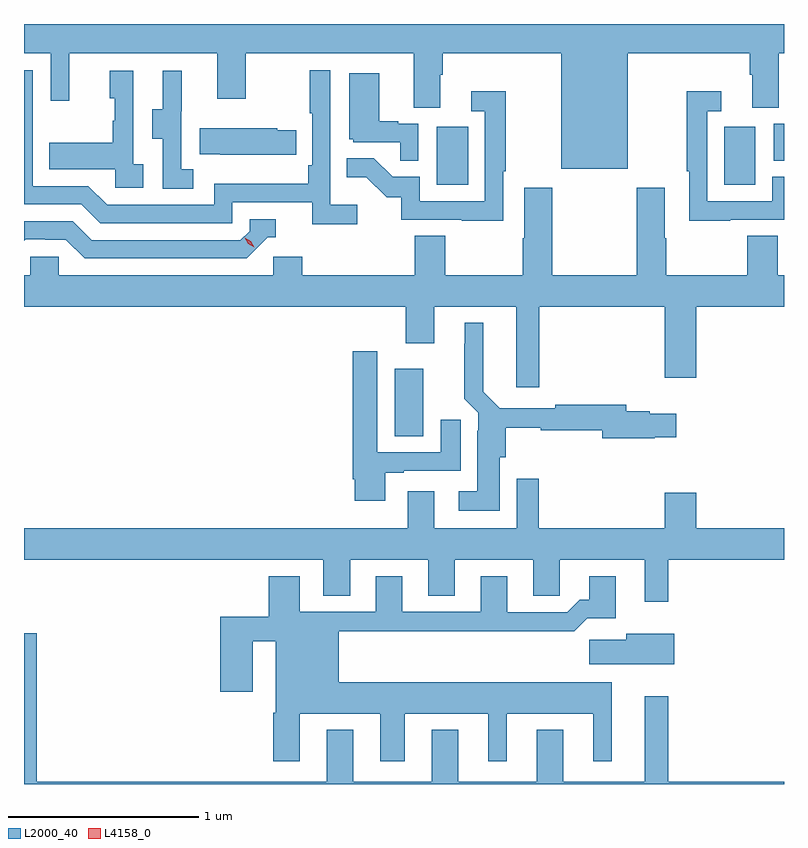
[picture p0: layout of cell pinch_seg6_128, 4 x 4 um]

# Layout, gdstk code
import gdstk
lib = gdstk.Library(unit=1e-6, precision=1e-09)
def R(c, l, rs):  # rectangles x0, y0, x1, y1
    for r in rs: c.add(gdstk.rectangle(r[:2], r[2:], *l))
def P(c, l, *ps):  # polygons
    for p in ps: c.add(gdstk.Polygon(p, *l))
L2000_40 = (2000, 40)
L4158_0 = (4158, 0)

pinch_seg6_128 = lib.new_cell('pinch_seg6_128')
R(pinch_seg6_128, L2000_40, [(1014.734,934.666,1014.883,935.02), (1014.956,935.988,1015.12,936.295), (1016.468,935.988,1016.632,936.295), (1016.73,936.115,1016.783,936.309)])
P(pinch_seg6_128, L2000_40, [(1015.96,936.68),(1016.603,936.68),(1016.603,936.568),(1016.615,936.568),(1016.615,936.394),(1016.755,936.394),(1016.755,936.68),(1016.783,936.68),(1016.783,936.835),(1012.783,936.835),(1012.783,936.68),(1012.923,936.68),(1012.923,936.432),(1013.021,936.432),(1013.021,936.68),(1013.801,936.68),(1013.801,936.441),(1013.949,936.441),(1013.949,936.68),(1014.833,936.68),(1014.833,936.394),(1014.973,936.394),(1014.973,936.568),(1014.986,936.568),(1014.986,936.68),(1015.61,936.68),(1015.61,936.074),(1015.96,936.074)],
  [(1014.538,935.884),(1014.396,935.884),(1014.396,936.592),(1014.288,936.592),(1014.288,936.364),(1014.3,936.364),(1014.3,936.091),(1014.28,936.091),(1014.28,935.995),(1013.784,935.995),(1013.784,935.883),(1013.22,935.883),(1013.121,935.982),(1012.83,935.982),(1012.83,936.591),(1012.783,936.591),(1012.783,935.886),(1013.084,935.886),(1013.183,935.787),(1013.88,935.787),(1013.88,935.898),(1014.299,935.898),(1014.299,935.782),(1014.538,935.782)],
  [(1013.41,936.098),(1013.358,936.098),(1013.358,936.589),(1013.234,936.589),(1013.234,936.444),(1013.26,936.444),(1013.26,936.326),(1013.25,936.326),(1013.25,936.211),(1012.915,936.211),(1012.915,936.071),(1013.262,936.071),(1013.262,935.973),(1013.41,935.973)],
  [(1013.674,936.071),(1013.61,936.071),(1013.61,936.375),(1013.612,936.375),(1013.612,936.589),(1013.513,936.589),(1013.513,936.387),(1013.459,936.387),(1013.459,936.232),(1013.514,936.232),(1013.514,935.968),(1013.674,935.968)],
  [(1014.858,936.309),(1014.752,936.309),(1014.752,936.322),(1014.652,936.322),(1014.652,936.577),(1014.494,936.577),(1014.494,936.228),(1014.516,936.228),(1014.516,936.213),(1014.763,936.213),(1014.763,936.115),(1014.858,936.115)],
  [(1015.305,936.061),(1015.318,936.061),(1015.318,936.481),(1015.137,936.481),(1015.137,936.375),(1015.209,936.375),(1015.209,935.901),(1014.867,935.901),(1014.867,936.03),(1014.723,936.03),(1014.625,936.128),(1014.481,936.128),(1014.481,936.029),(1014.585,936.029),(1014.692,935.922),(1014.769,935.922),(1014.769,935.805),(1015.087,935.805),(1015.087,935.8),(1015.305,935.8)],
  [(1016.501,935.805),(1016.783,935.805),(1016.783,936.03),(1016.721,936.03),(1016.721,935.901),(1016.379,935.901),(1016.379,936.375),(1016.452,936.375),(1016.452,936.481),(1016.271,936.481),(1016.271,936.061),(1016.283,936.061),(1016.283,935.8),(1016.501,935.8)],
  [(1014.215,936.276),(1014.117,936.276),(1014.117,936.286),(1013.707,936.286),(1013.707,936.149),(1013.815,936.149),(1013.815,936.146),(1014.215,936.146)],
  [(1015.496,935.348),(1016.156,935.348),(1016.156,934.974),(1016.32,934.974),(1016.32,935.348),(1016.783,935.348),(1016.783,935.512),(1016.75,935.512),(1016.75,935.72),(1016.59,935.72),(1016.59,935.512),(1016.163,935.512),(1016.163,935.708),(1016.155,935.708),(1016.155,935.974),(1016.008,935.974),(1016.008,935.512),(1015.563,935.512),(1015.563,935.974),(1015.415,935.974),(1015.415,935.708),(1015.408,935.708),(1015.408,935.512),(1014.999,935.512),(1014.999,935.72),(1014.839,935.72),(1014.839,935.512),(1014.248,935.512),(1014.248,935.61),(1014.096,935.61),(1014.096,935.512),(1012.965,935.512),(1012.965,935.61),(1012.815,935.61),(1012.815,935.512),(1012.783,935.512),(1012.783,935.348),(1014.791,935.348),(1014.791,935.154),(1014.943,935.154),(1014.943,935.348),(1015.373,935.348),(1015.373,934.923),(1015.496,934.923)],
  [(1014.066,935.712),(1014.109,935.712),(1014.109,935.808),(1013.97,935.808),(1013.97,935.745),(1013.922,935.697),(1013.139,935.697),(1013.04,935.796),(1012.783,935.796),(1012.783,935.693),(1012.793,935.703),(1012.896,935.703),(1012.896,935.7),(1013.003,935.7),(1013.102,935.601),(1013.955,935.601)],
  [(1015.288,934.554),(1015.319,934.554),(1015.319,934.711),(1015.502,934.711),(1015.502,934.696),(1015.826,934.696),(1015.826,934.654),(1016.102,934.654),(1016.102,934.661),(1016.215,934.661),(1016.215,934.783),(1016.076,934.783),(1016.076,934.796),(1015.954,934.796),(1015.954,934.832),(1015.579,934.832),(1015.579,934.812),(1015.288,934.812),(1015.201,934.9),(1015.201,935.263),(1015.103,935.263),(1015.103,935.153),(1015.099,935.153),(1015.099,934.862),(1015.173,934.788),(1015.173,934.694),(1015.169,934.694),(1015.169,934.375),(1015.071,934.375),(1015.071,934.274),(1015.288,934.274)],
  [(1014.685,934.473),(1014.781,934.473),(1014.781,934.485),(1015.081,934.485),(1015.081,934.753),(1014.977,934.753),(1014.977,934.581),(1014.643,934.581),(1014.643,935.113),(1014.512,935.113),(1014.512,934.438),(1014.524,934.438),(1014.524,934.326),(1014.685,934.326)],
  [(1016.173,934.016),(1016.783,934.016),(1016.783,934.18),(1016.32,934.18),(1016.32,934.369),(1016.156,934.369),(1016.156,934.18),(1015.493,934.18),(1015.493,934.441),(1015.377,934.441),(1015.377,934.18),(1014.943,934.18),(1014.943,934.375),(1014.803,934.375),(1014.803,934.18),(1012.783,934.18),(1012.783,934.016),(1014.359,934.016),(1014.359,933.826),(1014.499,933.826),(1014.499,934.016),(1014.911,934.016),(1014.911,933.826),(1015.051,933.826),(1015.051,934.016),(1015.463,934.016),(1015.463,933.826),(1015.602,933.826),(1015.602,934.016),(1016.051,934.016),(1016.051,933.795),(1016.173,933.795)],
  [(1014.235,933.206),(1014.659,933.206),(1014.659,932.955),(1014.787,932.955),(1014.787,933.206),(1015.226,933.206),(1015.226,932.955),(1015.324,932.955),(1015.324,933.206),(1015.778,933.206),(1015.778,932.955),(1015.876,932.955),(1015.876,933.37),(1014.439,933.37),(1014.439,933.64),(1015.423,933.64),(1015.423,933.638),(1015.679,933.638),(1015.748,933.707),(1015.897,933.707),(1015.897,933.928),(1015.757,933.928),(1015.757,933.805),(1015.708,933.805),(1015.641,933.738),(1015.327,933.738),(1015.327,933.928),(1015.187,933.928),(1015.187,933.741),(1014.775,933.741),(1014.775,933.928),(1014.635,933.928),(1014.635,933.741),(1014.235,933.741),(1014.235,933.928),(1014.071,933.928),(1014.071,933.715),(1013.816,933.715),(1013.816,933.321),(1013.986,933.321),(1013.986,933.586),(1014.107,933.586),(1014.107,933.21),(1014.095,933.21),(1014.095,932.955),(1014.235,932.955)],
  [(1016.783,932.848),(1016.173,932.848),(1016.173,933.298),(1016.051,933.298),(1016.051,932.848),(1015.621,932.848),(1015.621,933.121),(1015.481,933.121),(1015.481,932.848),(1015.069,932.848),(1015.069,933.121),(1014.929,933.121),(1014.929,932.848),(1014.517,932.848),(1014.517,933.121),(1014.377,933.121),(1014.377,932.848),(1012.85,932.848),(1012.85,933.628),(1012.783,933.628),(1012.783,932.835),(1016.783,932.835)],
  [(1016.206,933.625),(1015.952,933.625),(1015.952,933.593),(1015.758,933.593),(1015.758,933.464),(1016.206,933.464)])
P(pinch_seg6_128, L4158_0, [(1013.994,935.66),(1013.963,935.679),(1013.946,935.711),(1013.946,935.711),(1013.946,935.711),(1013.977,935.692),(1013.994,935.66),(1013.994,935.66)])

lib.write_gds('pinch_seg6_128.gds')
